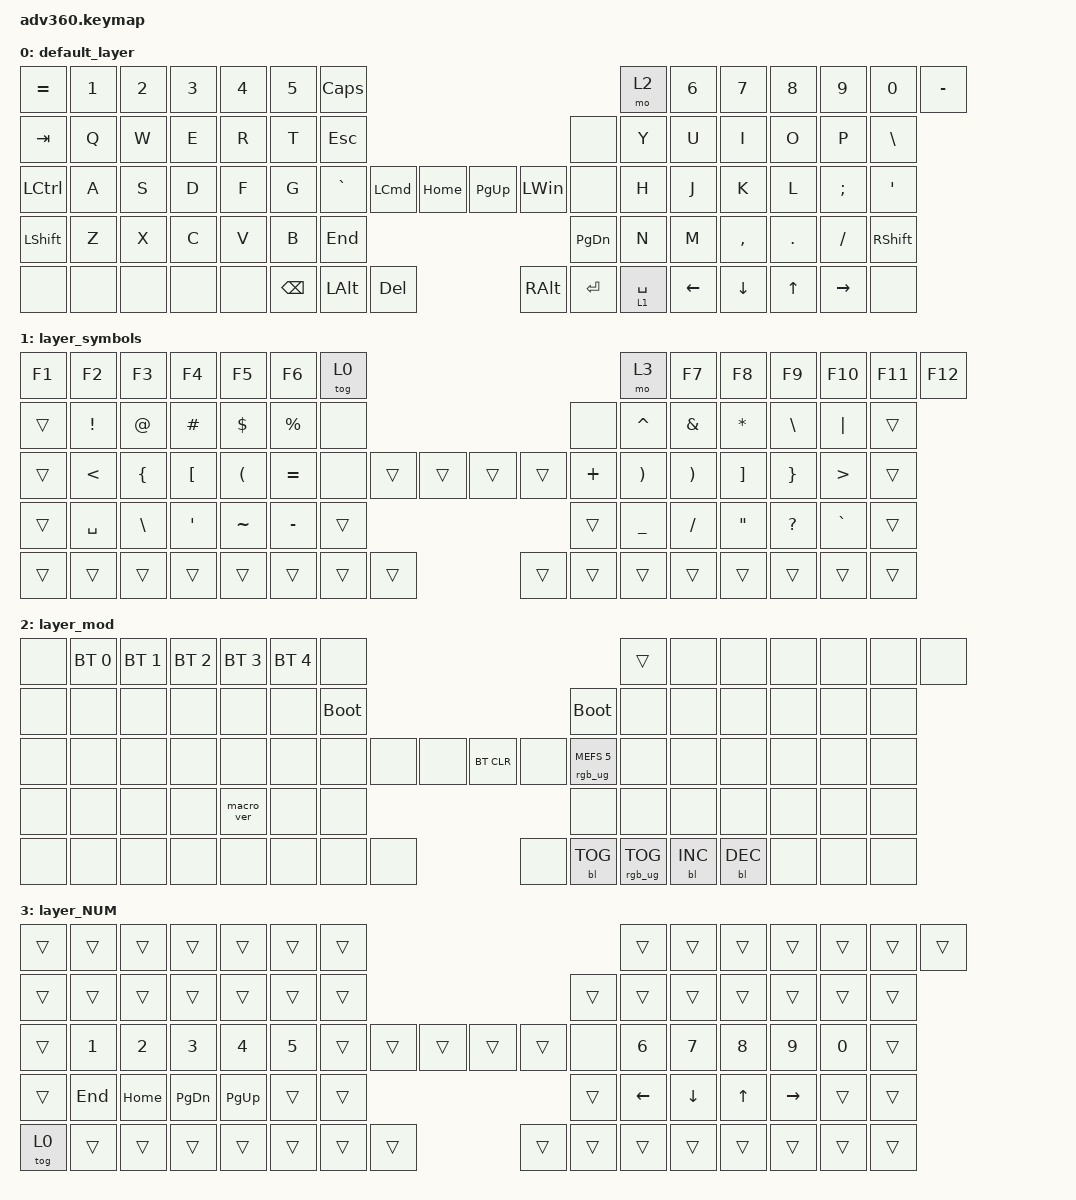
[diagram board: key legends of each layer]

/*
 * Copyright (c) 2020 The ZMK Contributors
 *
 * SPDX-License-Identifier: MIT
 */


/* THIS FILE WAS GENERATED!
 *
 * This file was generated automatically. You may or may not want to
 * edit it directly.
 */

#include <behaviors.dtsi>
#include <dt-bindings/zmk/keys.h>
#include <dt-bindings/zmk/bt.h>
#include <dt-bindings/zmk/rgb.h>
#include <dt-bindings/zmk/backlight.h>

/ {
  behaviors {
    #include "macros.dtsi"
    #include "version.dtsi"

    hm: homerow_mods {
        compatible = "zmk,behavior-hold-tap";
        label = "HOMEROW_MODS";
        #binding-cells = <2>;
        tapping-term-ms = <200>;
        quick_tap_ms = <175>;
        flavor = "tap-preferred";
        bindings = <&kp>, <&kp>;
    };
  };

    keymap {
        compatible = "zmk,keymap";


        default_layer {
            bindings = <
        &kp EQUAL  &kp N1  &kp N2  &kp N3  &kp N4  &kp N5                 &kp CAPS                                                                                   &mo 2  &kp N6          &kp N7          &kp N8        &kp N9           &kp N0  &kp MINUS
          &kp TAB   &kp Q   &kp W   &kp E   &kp R   &kp T               &kp ESCAPE                                                                                   &none   &kp Y           &kp U           &kp I         &kp O            &kp P   &kp BSLH
 &kp LEFT_CONTROL   &kp A   &kp S   &kp D   &kp F   &kp G                &kp GRAVE  &kp LEFT_COMMAND    &kp HOME                    &kp PAGE_UP  &kp LEFT_WIN        &none   &kp H           &kp J           &kp K         &kp L         &kp SEMI    &kp SQT
        &kp LSHFT   &kp Z   &kp X   &kp C   &kp V   &kp B                                                &kp END                      &kp PG_DN                              &kp N           &kp M       &kp COMMA       &kp DOT         &kp FSLH  &kp RSHFT
            &none   &none   &none   &none   &none                    &kp BACKSPACE      &kp LEFT_ALT  &kp DELETE                  &kp RIGHT_ALT    &kp RETURN  &lt 1 SPACE          &kp LEFT_ARROW  &kp DOWN_ARROW  &kp UP_ARROW  &kp RIGHT_ARROW      &none
            >;
        };

        layer_symbols {
            bindings = <
 &kp F1           &kp F2          &kp F3            &kp F4                &kp F5       &kp F6            &tog 0                                                     &mo 3                 &kp F7                 &kp F8             &kp F9          &kp F10           &kp F11  &kp F12
 &trans  &kp EXCLAMATION          &kp AT          &kp HASH            &kp DOLLAR  &kp PERCENT             &none                                                     &none              &kp CARET          &kp AMPERSAND       &kp ASTERISK    &kp BACKSLASH          &kp PIPE   &trans
 &trans    &kp LESS_THAN  &kp LEFT_BRACE  &kp LEFT_BRACKET  &kp LEFT_PARENTHESIS    &kp EQUAL             &none  &trans  &trans                  &trans  &trans  &kp PLUS  &kp RIGHT_PARENTHESIS  &kp RIGHT_PARENTHESIS  &kp RIGHT_BRACKET  &kp RIGHT_BRACE  &kp GREATER_THAN   &trans
 &trans        &kp SPACE   &kp BACKSLASH  &kp SINGLE_QUOTE             &kp TILDE    &kp MINUS                            &trans                  &trans                           &kp UNDERSCORE              &kp SLASH  &kp DOUBLE_QUOTES     &kp QUESTION         &kp GRAVE   &trans
 &trans           &trans          &trans            &trans                &trans                         &trans  &trans  &trans                  &trans  &trans    &trans                                        &trans             &trans           &trans            &trans   &trans
            >;
        };

        layer_mod {
            bindings = <
  &none  &bt BT_SEL 0  &bt BT_SEL 1  &bt BT_SEL 2  &bt BT_SEL 3  &bt BT_SEL 4                  &none                                                                          &trans   &none       &none       &none   &none   &none   &none
  &none         &none         &none         &none         &none         &none            &bootloader                                                                     &bootloader   &none       &none       &none   &none   &none   &none
  &none         &none         &none         &none         &none         &none                  &none   &none   &none                  &bt BT_CLR       &none  &rgb_ug RGB_MEFS_CMD 5   &none       &none       &none   &none   &none   &none
  &none         &none         &none         &none    &macro_ver         &none                                  &none                       &none                                       &none       &none       &none   &none   &none   &none
  &none         &none         &none         &none         &none                                &none   &none   &none                       &none  &bl BL_TOG         &rgb_ug RGB_TOG          &bl BL_INC  &bl BL_DEC   &none   &none   &none
            >;
        };

        layer_NUM {
            bindings = <
 &trans        &trans        &trans         &trans        &trans        &trans            &trans                                                  &trans          &trans          &trans        &trans           &trans        &trans  &trans
 &trans        &trans        &trans         &trans        &trans        &trans            &trans                                                  &trans          &trans          &trans        &trans           &trans        &trans  &trans
 &trans  &kp NUMBER_1  &kp NUMBER_2   &kp NUMBER_3  &kp NUMBER_4  &kp NUMBER_5            &trans  &trans  &trans                  &trans  &trans   &none    &kp NUMBER_6    &kp NUMBER_7  &kp NUMBER_8     &kp NUMBER_9  &kp NUMBER_0  &trans
 &trans       &kp END      &kp HOME  &kp PAGE_DOWN   &kp PAGE_UP        &trans                            &trans                  &trans                  &kp LEFT_ARROW  &kp DOWN_ARROW  &kp UP_ARROW  &kp RIGHT_ARROW        &trans  &trans
 &tog 0        &trans        &trans         &trans        &trans                          &trans  &trans  &trans                  &trans  &trans  &trans                          &trans        &trans           &trans        &trans  &trans
            >;
        };

    };
};
